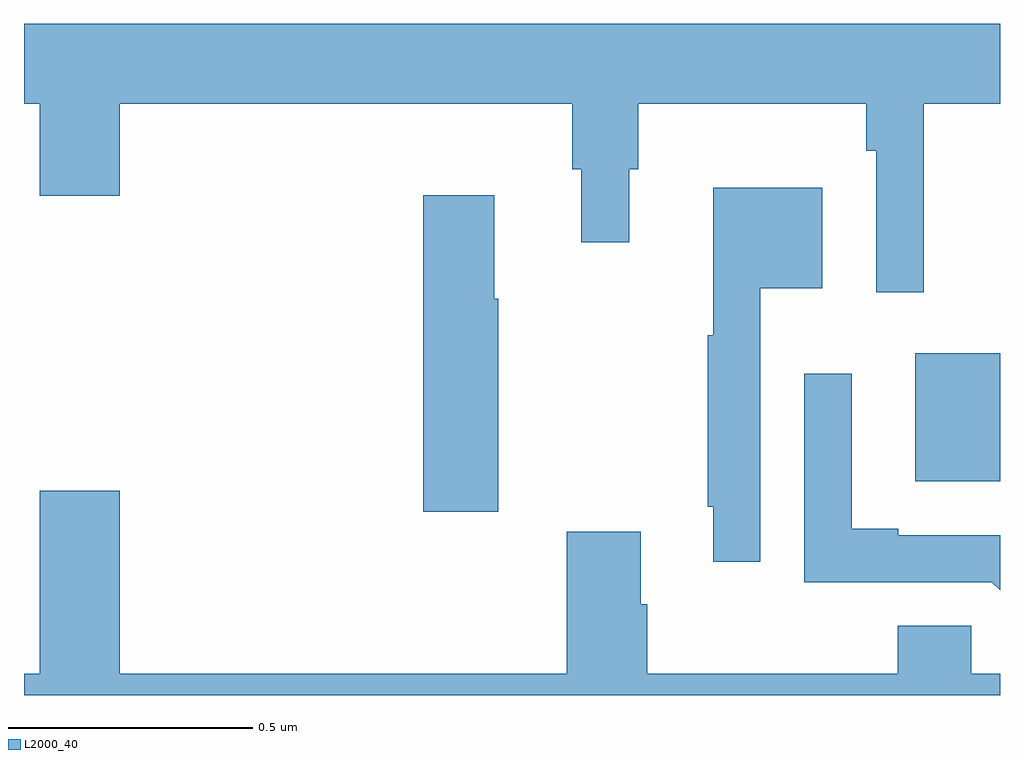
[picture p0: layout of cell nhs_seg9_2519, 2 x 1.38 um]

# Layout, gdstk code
import gdstk
lib = gdstk.Library(unit=1e-6, precision=1e-09)
def R(c, l, rs):  # rectangles x0, y0, x1, y1
    for r in rs: c.add(gdstk.rectangle(r[:2], r[2:], *l))
def P(c, l, *ps):  # polygons
    for p in ps: c.add(gdstk.Polygon(p, *l))
L2000_40 = (2000, 40)

nhs_seg9_2519 = lib.new_cell('nhs_seg9_2519')
R(nhs_seg9_2519, L2000_40, [(142.826,1236.938,143,1237.201)])
P(nhs_seg9_2519, L2000_40, [(142.844,1237.712),(143,1237.712),(143,1237.876),(141,1237.876),(141,1237.712),(141.032,1237.712),(141.032,1237.524),(141.196,1237.524),(141.196,1237.712),(142.123,1237.712),(142.123,1237.578),(142.142,1237.578),(142.142,1237.428),(142.24,1237.428),(142.24,1237.578),(142.259,1237.578),(142.259,1237.712),(142.726,1237.712),(142.726,1237.616),(142.746,1237.616),(142.746,1237.326),(142.844,1237.326)],
  [(142.509,1237.334),(142.636,1237.334),(142.636,1237.54),(142.412,1237.54),(142.412,1237.238),(142.401,1237.238),(142.401,1236.886),(142.412,1236.886),(142.412,1236.774),(142.509,1236.774)],
  [(141.972,1237.312),(141.964,1237.312),(141.964,1237.525),(141.818,1237.525),(141.818,1236.876),(141.972,1236.876)],
  [(143,1236.828),(142.792,1236.828),(142.792,1236.841),(142.696,1236.841),(142.696,1237.159),(142.599,1237.159),(142.599,1236.732),(142.983,1236.732),(143,1236.715)],
  [(143,1236.544),(142.941,1236.544),(142.941,1236.642),(142.79,1236.642),(142.79,1236.544),(142.277,1236.544),(142.277,1236.686),(142.264,1236.686),(142.264,1236.835),(142.112,1236.835),(142.112,1236.544),(141.196,1236.544),(141.196,1236.919),(141.032,1236.919),(141.032,1236.544),(141,1236.544),(141,1236.5),(143,1236.5)])

lib.write_gds('nhs_seg9_2519.gds')
